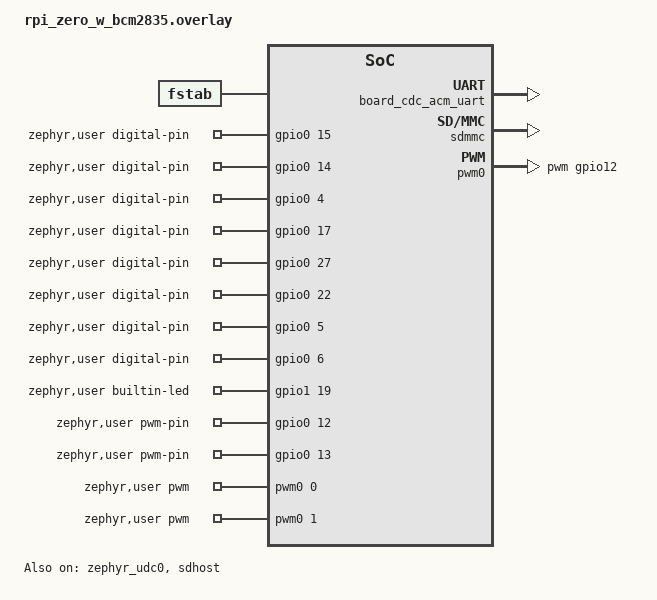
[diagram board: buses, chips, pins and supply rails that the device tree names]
/*
 * Copyright (c) 2026 Jonathan Elliot Peace <jep@alphabetiq.com>
 *
 * SPDX-License-Identifier: Apache-2.0
 *
 * Arduino variant overlay for the Raspberry Pi Zero W (BCM2835,
 * ARM1176JZF-S, ARMv6KZ, AArch32). v1 scope is Blink + USB-CDC Serial.
 * SPI/Wire/SD/WiFi nodes are intentionally omitted until those bring-ups
 * land on ARMv6.
 *
 * Sketches load from a FAT file on the SD card via Zephyr's fs llext
 * loader -- there is no internal flash and no `user_sketch` partition.
 */

#include <zephyr/dt-bindings/gpio/gpio.h>
#include <zephyr/dt-bindings/pwm/pwm.h>

/* VideoCore mailbox + firmware: the USB PHY on this SoC is powered on
 * via a VC SET_POWER_STATE mailbox call, so both must be enabled before
 * the dwc2 controller can enumerate.
 */
&mbox0 {
	status = "okay";
};

&firmware {
	status = "okay";
};

/* USB device controller (snps,dwc2). The bcm2835 dtsi labels this node
 * both `usb` and `zephyr_udc0`; the Arduino core binds its single USBD
 * context to DT_NODELABEL(zephyr_udc0). The CDC ACM child is the board's
 * `Serial` -- the loader owns USB bring-up and the upload channel.
 */
&zephyr_udc0 {
	status = "okay";

	board_cdc_acm_uart: board_cdc_acm_uart {
		compatible = "zephyr,cdc-acm-uart";
	};
};

/* Legacy SDHost controller -> external microSD card slot. ALT0 mux on
 * GPIO 48..53 via the sdhost_gpio48 group (bcm283x-pinctrl.dtsi). The
 * Phase-3b 2026-05-29 attempt initialised the controller cleanly but
 * the card never enumerated (no CMD8 log, FATFS automount -ENODEV) --
 * needs instrumentation on the polled-PIO command path.
 */
&sdhost {
	pinctrl-names = "default";
	pinctrl-0 = <&sdhost_gpio48>;
	status = "okay";

	sdmmc {
		compatible = "zephyr,sdmmc-disk";
		disk-name = "SD";
	};
};

/* bcm2835.dtsi has gpio1 status="disabled" by default and ngpios=18
 * (covers GPIOs 28..45). The Pi Zero W's on-board ACT LED is on BCM
 * GPIO 47, so enable the bank AND extend it to cover 28..53. When this
 * lands upstream, drop this stanza.
 */
&gpio1 {
	status = "okay";
	ngpios = <26>;
};

/* BCM283x PWM block -- channel 0 on GPIO 12 (header pin 32), channel 1
 * on GPIO 13 (header pin 33), both ALT0: the conflict-free pair (no
 * overlap with analog audio, the UART console or the ACT LED).
 * Deferred init + the "arduino" pinctrl state follow the upstream giga
 * convention: the core's analogWrite() calls device_init() on first
 * use and muxes just the one channel's pin back to PWM after any
 * digitalWrite() flipped it to GPIO.
 */
&pwm0 {
	status = "okay";
	zephyr,deferred-init;
	/* Single "arduino" state, no "default": the BCM pinctrl takes
	 * exactly ONE group phandle per state, and the driver skips a
	 * missing default (-ENOENT tolerated), so nothing muxes until
	 * the first analogWrite(). pwm_gpio12's pin order (GPIO 12,
	 * GPIO 13) is the per-channel index the core uses.
	 */
	pinctrl-0 = <&pwm_gpio12>;
	pinctrl-names = "arduino";
};

/ {
	fstab {
		compatible = "zephyr,fstab";

		sd: sd {
			compatible = "zephyr,fstab,fatfs";
			disk-access;
			automount;
			mount-point = "/SD:";
		};
	};

	zephyr,user {
		/*
		 * Arduino digital pin map for the Pi 40-pin header. Matches
		 * the rpi_zero_2w variant so sketches port unchanged:
		 *
		 *   D0  = GPIO 15  (UART1 RX)         header pin 10
		 *   D1  = GPIO 14  (UART1 TX)         header pin 8
		 *   D2  = GPIO  4                     header pin 7
		 *   D3  = GPIO 17                     header pin 11
		 *   D4  = GPIO 27                     header pin 13
		 *   D5  = GPIO 22                     header pin 15
		 *   D6  = GPIO  5                     header pin 29
		 *   D7  = GPIO  6                     header pin 31
		 *   D8  = GPIO 23                     header pin 16
		 *   D9  = GPIO 24                     header pin 18
		 *   D10 = GPIO  8  (SPI0 CE0)         header pin 24
		 *   D11 = GPIO 10  (SPI0 MOSI)        header pin 19
		 *   D12 = GPIO  9  (SPI0 MISO)        header pin 21
		 *   D13 = GPIO 11  (SPI0 SCLK)        header pin 23
		 *   D14 = GPIO 47  (on-board ACT LED) no header pin
		 *   D15 = GPIO 12  (PWM0)             header pin 32
		 *   D16 = GPIO 13  (PWM1)             header pin 33
		 *
		 * D14 isn't on the 40-pin header -- it's the green on-board
		 * activity LED. The original Pi Zero W uses GPIO 47 (vs the
		 * Pi 3 family / Zero 2 W convention of GPIO 29). We expose it
		 * as the Arduino BUILTIN LED so the standard Blink sketch
		 * (`digitalWrite(LED_BUILTIN, ...)`) blinks the on-board LED
		 * without requiring an external jumper to D13.
		 * ArduinoCore-zephyr's `LED_BUILTIN` macro
		 * (cores/arduino/Arduino.h:54-67) finds the matching entry in
		 * `digital-pin-gpios` and returns its index -- so
		 * `LED_BUILTIN` resolves to `14`.
		 */
		digital-pin-gpios = <&gpio0 15 0>,
				    <&gpio0 14 0>,
				    <&gpio0  4 0>,
				    <&gpio0 17 0>,
				    <&gpio0 27 0>,
				    <&gpio0 22 0>,
				    <&gpio0  5 0>,
				    <&gpio0  6 0>,
				    <&gpio0 23 0>,
				    <&gpio0 24 0>,
				    <&gpio0  8 0>,
				    <&gpio0 10 0>,
				    <&gpio0  9 0>,
				    <&gpio0 11 0>,
				    <&gpio1 19 0>,
				    <&gpio0 12 0>,
				    <&gpio0 13 0>;

		/* On-board ACT LED -- BCM GPIO 47, ACTIVE_HIGH. */
		builtin-led-gpios = <&gpio1 19 GPIO_ACTIVE_HIGH>;

		/*
		 * `Serial` is the USB CDC ACM device (matching every other
		 * Arduino USB board): it carries both the sketch's serial I/O
		 * and the upload channel. The presence of `cdc-acm-serial`
		 * makes ArduinoCore's ZARD_FIRST_SERIAL_IS_SERIALUSB true, so
		 * `Serial` is a SerialUSB_ on this node.
		 *
		 * The board's mini-UART (uart1 @ GPIO 14/15, 115200) drops to
		 * `Serial1` and remains the console + LOG_* backend (chosen
		 * zephyr,console in the board DTS).
		 */
		cdc-acm-serial = <&board_cdc_acm_uart>;
		serials = <&uart1>;

		/*
		 * Hardware PWM: analogWrite() works on D15 (GPIO 12) and
		 * D16 (GPIO 13) -- the BCM283x PWM block only reaches
		 * those two header pins (see &pwm0 above). The 490 Hz
		 * period matches the Arduino Uno's analogWrite frequency.
		 * On every other pin analogWrite() falls back to the
		 * upstream digital threshold behaviour (>= half scale ->
		 * HIGH). The pwms entry order pairs with the "arduino"
		 * pinctrl state's pin order in &pwm0.
		 */
		pwms = <&pwm0 0 PWM_HZ(490) PWM_POLARITY_NORMAL>,
		       <&pwm0 1 PWM_HZ(490) PWM_POLARITY_NORMAL>;
		pwm-pin-gpios = <&gpio0 12 0>, <&gpio0 13 0>;

		/*
		 * No ADC on this SoC -> `analogRead` is unavailable; no
		 * `adc-pin-gpios` / `io-channels` nodes by design. No
		 * Wire/SPI bindings in v1 -- the BCM283x i2c/spi driver
		 * ports for AArch32 ARMv6 are pending.
		 */
	};
};
